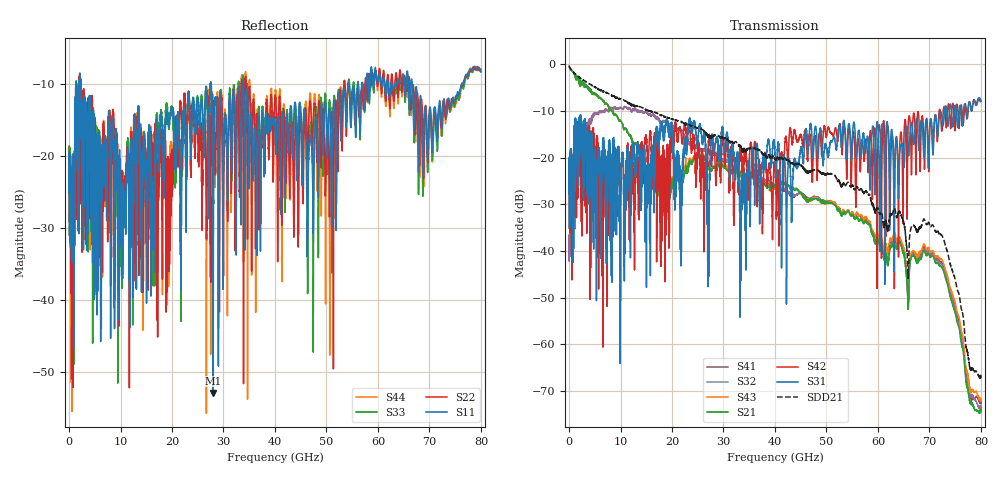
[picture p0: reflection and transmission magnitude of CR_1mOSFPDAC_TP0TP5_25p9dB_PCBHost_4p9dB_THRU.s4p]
!! Reference: shanbhag_3dj_01_2305.pdf
!! CHANNEL DESCRIPTION: TP0_TP5 CR Channel using 1meter DAC, PCB Host
!! MODEL DESCRIPTION: s4p, THRU
!! CONNECTOR DESCRIPTION: OSFP 200G SMT
!! CABLE DESCRIPTION: 1meter 26AWG Cable
!! MODEL STATUS: Developmental
!! PORT DEFINITIONS:
!! Port  1  ----->  Side A  Side B  <-----  Port  2
!! Port  3  ----->  Side A  Side B  <-----  Port  4
# HZ S MA R 50.000000
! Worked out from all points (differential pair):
!   8000 points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, 10 MHz to 80 GHz, reference 50 ohm
!   strongest paths, dB at 10 MHz, 20.01 GHz, 40.01 GHz, 60.01 GHz, 80 GHz:
!     S31: -27.7, -12.8, -19.4, -13.4, -7.8
!     S42: -27.8, -14.4, -22.6, -16.3, -8.0
!     S21: -0.4, -24.8, -26.1, -37.6, -74.5
!     S43: -0.5, -24.4, -26.4, -36.6, -72.2
!     S32: -42.1, -13.8, -26.2, -36.9, -73.7
!     S41: -42.1, -13.8, -26.5, -37.2, -72.7
!   taken as a pair (ports 1,3 in; 2,4 out), SDD21 dB: -0.4, -11.8, -20.3, -31.1, -67.3
!   lowest |S11| = -52.9 dB at 28.01 GHz (marker M1), VSWR 1.00, Z = 50.1 - j0.183 ohm
!   |S11| at or under -10 dB: 2.264 GHz to 27.44 GHz (25.18 GHz wide, 170 % of centre); 33.89 GHz to 54.24 GHz (20.35 GHz wide, 46.2 % of centre); 66.68 GHz to 76.21 GHz (9.528 GHz wide, 13.3 % of centre)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
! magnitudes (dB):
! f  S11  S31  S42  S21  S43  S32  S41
! 10 MHz  -25.1  -27.7  -27.8  -0.4  -0.5  -42.1  -42.1
! 5.04 GHz  -22.8  -21.3  -23.9  -6.4  -6.4  -10.5  -10.5
! 18.53 GHz  -20.1  -15.7  -26.7  -31.2  -30.3  -12.2  -12.1
! 28.01 GHz  -52.9  -17.0  -17.2  -22.0  -21.9  -19.2  -19.4
! 33.5 GHz  -15.6  -25.5  -19.3  -24.1  -24.0  -24.4  -24.2
! 70.59 GHz  -19.2  -16.9  -17.3  -41.0  -39.9  -40.4  -40.5
! 80 GHz  -8.3  -7.8  -8.0  -74.5  -72.2  -73.7  -72.7
